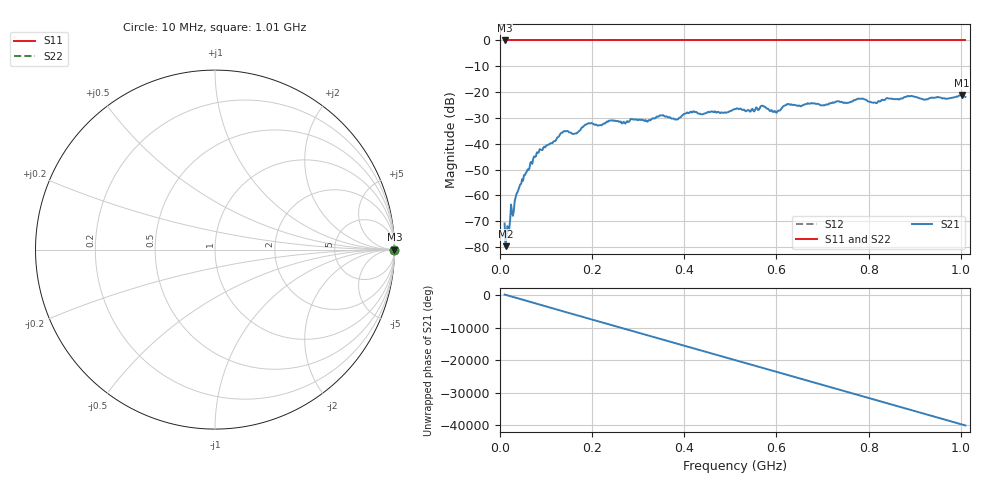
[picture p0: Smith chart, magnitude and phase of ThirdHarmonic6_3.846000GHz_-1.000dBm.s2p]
! 8/17/2025 1:24:34 PM
! C:\ANRITSUVNA\TEMP\TEMP.S2P
! CHANNEL.1
! TR.MEASUREMENT
! RAW.DATA
! RF.CORRECTION.OFF
! AVERAGING.OFF
! IF.BANDWIDTH: 5KHZ
! SWEEPTYPE:  FREQ.SWEEP(Linear)
! Reference Plane Port Info
! PORT:  PORT1  PORT2
! DISTANCE:  0  m  0  m
! TIME:  0  s  0  s
! PHASE.OFFSET:  0  deg.  0  deg.
! LOSS:  0  dB  0  dB
! REF.LOSS:  0  dB  0  dB
! REF.FREQ:  0  Hz  0  Hz
! Power Info
! POWER:  -20  dBm  -20  dBm
! EFF.POWER:  -20  dBm  -20  dBm
! SOURCE.ATTEN:  0  dB  0  dB
! TEST.ATTEN:  0  dB  0  dB
# GHZ S RI R 50.0
! FREQ.GHZ  S11RE  S11IM  S21RE  S21IM  S12RE  S12IM  S22RE  S22IM
!; PortSelection: Port_12
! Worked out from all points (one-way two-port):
!   501 points, 10 MHz to 1.01 GHz, reference 50 ohm
!   highest |S21| = -21.16 dB at 1.002 GHz (marker M1); lowest = -79.7 dB at 12 MHz (marker M2)
!   lowest |S11| = 0.0 dB at 10 MHz (marker M3)
!   |S11| at or under -10 dB: nowhere
!   |S22| runs from 0.0 to 0.0 dB; largest |S21 - S12| = 1.1
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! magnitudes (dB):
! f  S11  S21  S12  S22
! 10 MHz  0.0  -70.8  0.0  0.0
! 12 MHz  0.0  -79.7  0.0  0.0
! 16 MHz  0.0  -71.9  0.0  0.0
! 20 MHz  0.0  -73.0  0.0  0.0
! 40 MHz  0.0  -57.7  0.0  0.0
! 76 MHz  0.0  -45.1  0.0  0.0
! 136 MHz  0.0  -35.6  0.0  0.0
! 162 MHz  0.0  -36.1  0.0  0.0
! 178 MHz  0.0  -33.6  0.0  0.0
! 344 MHz  0.0  -29.5  0.0  0.0
! 382 MHz  0.0  -30.6  0.0  0.0
! 416 MHz  0.0  -27.9  0.0  0.0
! 510 MHz  0.0  -26.6  0.0  0.0
! 570 MHz  0.0  -25.3  0.0  0.0
! 596 MHz  0.0  -27.2  0.0  0.0
! 624 MHz  0.0  -24.6  0.0  0.0
! 678 MHz  0.0  -24.4  0.0  0.0
! 784 MHz  0.0  -22.6  0.0  0.0
! 814 MHz  0.0  -24.0  0.0  0.0
! 844 MHz  0.0  -22.5  0.0  0.0
! 1.002 GHz  0.0  -21.2  0.0  0.0
! 1.01 GHz  0.0  -21.8  0.0  0.0
